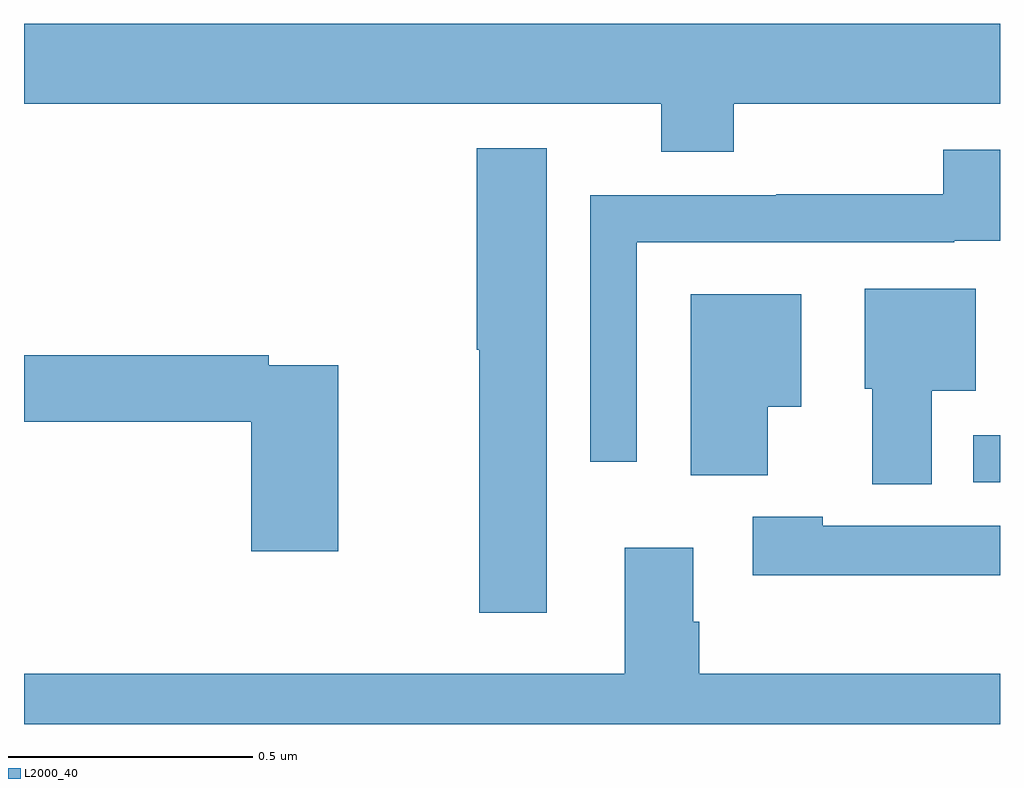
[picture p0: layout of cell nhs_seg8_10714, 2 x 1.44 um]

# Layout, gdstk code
import gdstk
lib = gdstk.Library(unit=1e-6, precision=1e-09)
def R(c, l, rs):  # rectangles x0, y0, x1, y1
    for r in rs: c.add(gdstk.rectangle(r[:2], r[2:], *l))
def P(c, l, *ps):  # polygons
    for p in ps: c.add(gdstk.Polygon(p, *l))
L2000_40 = (2000, 40)

nhs_seg8_10714 = lib.new_cell('nhs_seg8_10714')
R(nhs_seg8_10714, L2000_40, [(254.945,1110.396,255,1110.492)])
P(nhs_seg8_10714, L2000_40, [(254.454,1111.172),(255,1111.172),(255,1111.336),(253,1111.336),(253,1111.172),(254.306,1111.172),(254.306,1111.073),(254.454,1111.073)],
  [(254.071,1111.081),(253.928,1111.081),(253.928,1110.668),(253.933,1110.668),(253.933,1110.129),(254.071,1110.129)],
  [(254.256,1110.888),(254.906,1110.888),(254.906,1110.891),(255,1110.891),(255,1111.078),(254.884,1111.078),(254.884,1110.986),(254.542,1110.986),(254.542,1110.984),(254.16,1110.984),(254.16,1110.438),(254.256,1110.438)],
  [(254.86,1110.584),(254.95,1110.584),(254.95,1110.793),(254.723,1110.793),(254.723,1110.588),(254.738,1110.588),(254.738,1110.392),(254.86,1110.392)],
  [(254.524,1110.551),(254.593,1110.551),(254.593,1110.781),(254.366,1110.781),(254.366,1110.411),(254.524,1110.411)],
  [(253.644,1110.636),(253.502,1110.636),(253.502,1110.656),(253,1110.656),(253,1110.52),(253.466,1110.52),(253.466,1110.255),(253.644,1110.255)],
  [(255,1110.307),(254.637,1110.307),(254.637,1110.325),(254.493,1110.325),(254.493,1110.206),(255,1110.206)],
  [(255,1110.004),(254.384,1110.004),(254.384,1110.11),(254.371,1110.11),(254.371,1110.262),(254.231,1110.262),(254.231,1110.004),(253,1110.004),(253,1109.9),(255,1109.9)])

lib.write_gds('nhs_seg8_10714.gds')
